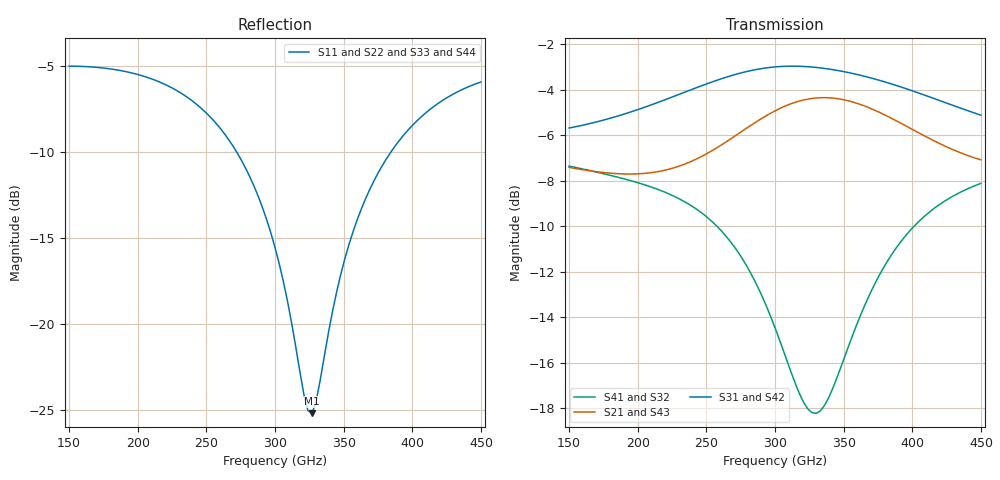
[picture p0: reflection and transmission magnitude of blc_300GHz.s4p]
#  GHZ S DB R 50
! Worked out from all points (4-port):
!   101 points, 150 GHz to 450 GHz, reference 50 ohm
!   strongest paths, dB at 150 GHz, 225 GHz, 300 GHz, 375 GHz, 450 GHz:
!     S31: -5.7, -4.3, -3.0, -3.6, -5.1
!     S42: -5.7, -4.3, -3.0, -3.6, -5.1
!     S21: -7.4, -7.5, -4.9, -5.0, -7.1
!     S43: -7.4, -7.5, -4.9, -5.0, -7.1
!     S41: -7.4, -8.6, -14.5, -12.3, -8.1
!     S32: -7.4, -8.6, -14.4, -12.3, -8.1
!   lowest |S11| = -25.2 dB at 327 GHz (marker M1), VSWR 1.12, Z = 55.3 - j2.41 ohm
!   |S11| at or under -10 dB: 272.1 GHz to 384.4 GHz (112.3 GHz wide, 34.2 % of centre)
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150  -5.00 156.4  -7.41 -51.3  -5.68 -78.7  -7.36 -61.3
     -7.41 -51.3  -5.01 156.5  -7.35 -61.3  -5.69 -78.7
     -5.68 -78.7  -7.35 -61.3  -5.01 156.5  -7.41 -51.3
     -7.36 -61.3  -5.69 -78.7  -7.41 -51.3  -5.01 156.4
219  -6.04 129.5  -7.55 -64.6  -4.46 -116.6  -8.49 -89.8
     -7.55 -64.6  -6.04 129.6  -8.48 -89.8  -4.46 -116.6
     -4.46 -116.6  -8.48 -89.8  -6.05 129.6  -7.55 -64.6
     -8.49 -89.8  -4.46 -116.6  -7.55 -64.6  -6.04 129.6
267  -9.36 100.9  -6.19 -74.9  -3.41 -148.3  -10.64 -113.2
     -6.19 -74.9  -9.37 101.0  -10.62 -113.3  -3.41 -148.3
     -3.41 -148.3  -10.62 -113.3  -9.39 101.0  -6.19 -75.0
     -10.64 -113.2  -3.41 -148.3  -6.19 -75.0  -9.36 101.0
297  -14.71 74.2  -5.03 -87.4  -3.02 -170.8  -13.99 -123.3
     -5.03 -87.4  -14.73 74.3  -13.97 -123.4  -3.02 -170.8
     -3.02 -170.8  -13.97 -123.4  -14.76 74.2  -5.04 -87.5
     -13.99 -123.3  -3.02 -170.8  -5.04 -87.5  -14.71 74.3
327  -25.19 -23.2  -4.38 -104.5  -3.01 166.2  -18.19 -101.9
     -4.38 -104.5  -25.18 -23.5  -18.21 -102.3  -3.01 166.3
     -3.01 166.2  -18.21 -102.3  -25.15 -24.5  -4.39 -104.6
     -18.19 -101.9  -3.01 166.3  -4.39 -104.6  -25.22 -23.1
372  -11.69 -120.3  -4.89 -130.3  -3.52 133.2  -12.62 -76.0
     -4.89 -130.3  -11.68 -120.1  -12.65 -75.9  -3.52 133.2
     -3.52 133.2  -12.65 -75.9  -11.64 -120.1  -4.89 -130.4
     -12.62 -76.0  -3.52 133.2  -4.89 -130.4  -11.69 -120.3
450  -5.93 -163.0  -7.08 -156.9  -5.12 83.3  -8.12 -112.0
     -7.08 -156.9  -5.92 -162.8  -8.13 -111.9  -5.12 83.3
     -5.12 83.3  -8.13 -111.9  -5.91 -162.8  -7.10 -157.0
     -8.12 -112.0  -5.12 83.3  -7.10 -157.0  -5.92 -163.0
